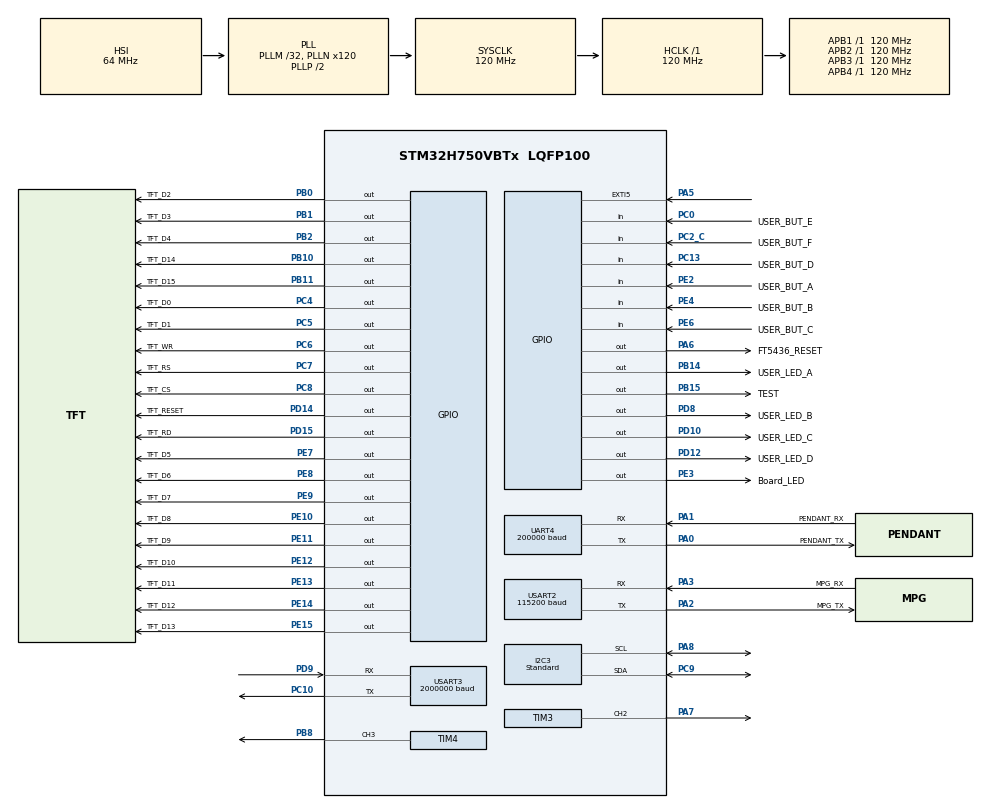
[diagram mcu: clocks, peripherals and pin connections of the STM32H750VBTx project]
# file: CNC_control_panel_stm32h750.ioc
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Dma.I2C3_RX.0.Direction=DMA_PERIPH_TO_MEMORY
Dma.I2C3_RX.0.EventEnable=DISABLE
Dma.I2C3_RX.0.FIFOMode=DMA_FIFOMODE_DISABLE
Dma.I2C3_RX.0.Instance=DMA1_Stream0
Dma.I2C3_RX.0.MemDataAlignment=DMA_MDATAALIGN_BYTE
Dma.I2C3_RX.0.MemInc=DMA_MINC_ENABLE
Dma.I2C3_RX.0.Mode=DMA_NORMAL
Dma.I2C3_RX.0.PeriphDataAlignment=DMA_PDATAALIGN_BYTE
Dma.I2C3_RX.0.PeriphInc=DMA_PINC_DISABLE
Dma.I2C3_RX.0.Polarity=HAL_DMAMUX_REQ_GEN_RISING
Dma.I2C3_RX.0.Priority=DMA_PRIORITY_LOW
Dma.I2C3_RX.0.RequestNumber=1
Dma.I2C3_RX.0.SignalID=NONE
Dma.I2C3_RX.0.SyncEnable=DISABLE
Dma.I2C3_RX.0.SyncPolarity=HAL_DMAMUX_SYNC_NO_EVENT
Dma.I2C3_RX.0.SyncRequestNumber=1
Dma.I2C3_RX.0.SyncSignalID=NONE
Dma.I2C3_TX.1.Direction=DMA_MEMORY_TO_PERIPH
Dma.I2C3_TX.1.EventEnable=DISABLE
Dma.I2C3_TX.1.FIFOMode=DMA_FIFOMODE_DISABLE
Dma.I2C3_TX.1.Instance=DMA1_Stream1
Dma.I2C3_TX.1.MemDataAlignment=DMA_MDATAALIGN_BYTE
Dma.I2C3_TX.1.MemInc=DMA_MINC_ENABLE
Dma.I2C3_TX.1.Mode=DMA_NORMAL
Dma.I2C3_TX.1.PeriphDataAlignment=DMA_PDATAALIGN_BYTE
Dma.I2C3_TX.1.PeriphInc=DMA_PINC_DISABLE
Dma.I2C3_TX.1.Polarity=HAL_DMAMUX_REQ_GEN_RISING
Dma.I2C3_TX.1.Priority=DMA_PRIORITY_LOW
Dma.I2C3_TX.1.RequestNumber=1
Dma.I2C3_TX.1.SignalID=NONE
Dma.I2C3_TX.1.SyncEnable=DISABLE
Dma.I2C3_TX.1.SyncPolarity=HAL_DMAMUX_SYNC_NO_EVENT
Dma.I2C3_TX.1.SyncRequestNumber=1
Dma.I2C3_TX.1.SyncSignalID=NONE
Dma.Request0=I2C3_RX
Dma.Request1=I2C3_TX
Dma.Request2=USART2_RX
Dma.Request3=UART4_RX
Dma.Request4=USART3_TX
Dma.Request5=UART4_TX
Dma.UART4_RX.3.Direction=DMA_PERIPH_TO_MEMORY
Dma.UART4_RX.3.EventEnable=DISABLE
Dma.UART4_RX.3.FIFOMode=DMA_FIFOMODE_DISABLE
Dma.UART4_RX.3.Instance=DMA1_Stream4
Dma.UART4_RX.3.MemDataAlignment=DMA_MDATAALIGN_BYTE
Dma.UART4_RX.3.MemInc=DMA_MINC_ENABLE
Dma.UART4_RX.3.Mode=DMA_NORMAL
Dma.UART4_RX.3.PeriphDataAlignment=DMA_PDATAALIGN_BYTE
Dma.UART4_RX.3.PeriphInc=DMA_PINC_DISABLE
Dma.UART4_RX.3.Polarity=HAL_DMAMUX_REQ_GEN_RISING
Dma.UART4_RX.3.Priority=DMA_PRIORITY_LOW
Dma.UART4_RX.3.RequestNumber=1
Dma.UART4_RX.3.SignalID=NONE
Dma.UART4_RX.3.SyncEnable=DISABLE
Dma.UART4_RX.3.SyncPolarity=HAL_DMAMUX_SYNC_NO_EVENT
Dma.UART4_RX.3.SyncRequestNumber=1
Dma.UART4_RX.3.SyncSignalID=NONE
Dma.UART4_TX.5.Direction=DMA_MEMORY_TO_PERIPH
Dma.UART4_TX.5.EventEnable=DISABLE
Dma.UART4_TX.5.FIFOMode=DMA_FIFOMODE_DISABLE
Dma.UART4_TX.5.Instance=DMA1_Stream5
Dma.UART4_TX.5.MemDataAlignment=DMA_MDATAALIGN_BYTE
Dma.UART4_TX.5.MemInc=DMA_MINC_ENABLE
Dma.UART4_TX.5.Mode=DMA_NORMAL
Dma.UART4_TX.5.PeriphDataAlignment=DMA_PDATAALIGN_BYTE
Dma.UART4_TX.5.PeriphInc=DMA_PINC_DISABLE
Dma.UART4_TX.5.Polarity=HAL_DMAMUX_REQ_GEN_RISING
Dma.UART4_TX.5.Priority=DMA_PRIORITY_LOW
Dma.UART4_TX.5.RequestNumber=1
Dma.UART4_TX.5.SignalID=NONE
Dma.UART4_TX.5.SyncEnable=DISABLE
Dma.UART4_TX.5.SyncPolarity=HAL_DMAMUX_SYNC_NO_EVENT
Dma.UART4_TX.5.SyncRequestNumber=1
Dma.UART4_TX.5.SyncSignalID=NONE
Dma.USART2_RX.2.Direction=DMA_PERIPH_TO_MEMORY
Dma.USART2_RX.2.EventEnable=DISABLE
Dma.USART2_RX.2.FIFOMode=DMA_FIFOMODE_DISABLE
Dma.USART2_RX.2.Instance=DMA1_Stream2
Dma.USART2_RX.2.MemDataAlignment=DMA_MDATAALIGN_BYTE
Dma.USART2_RX.2.MemInc=DMA_MINC_ENABLE
Dma.USART2_RX.2.Mode=DMA_NORMAL
Dma.USART2_RX.2.PeriphDataAlignment=DMA_PDATAALIGN_BYTE
Dma.USART2_RX.2.PeriphInc=DMA_PINC_DISABLE
Dma.USART2_RX.2.Polarity=HAL_DMAMUX_REQ_GEN_RISING
Dma.USART2_RX.2.Priority=DMA_PRIORITY_LOW
Dma.USART2_RX.2.RequestNumber=1
Dma.USART2_RX.2.SignalID=NONE
Dma.USART2_RX.2.SyncEnable=DISABLE
Dma.USART2_RX.2.SyncPolarity=HAL_DMAMUX_SYNC_NO_EVENT
Dma.USART2_RX.2.SyncRequestNumber=1
Dma.USART2_RX.2.SyncSignalID=NONE
Dma.USART3_TX.4.Direction=DMA_MEMORY_TO_PERIPH
Dma.USART3_TX.4.EventEnable=DISABLE
Dma.USART3_TX.4.FIFOMode=DMA_FIFOMODE_DISABLE
Dma.USART3_TX.4.Instance=DMA1_Stream3
Dma.USART3_TX.4.MemDataAlignment=DMA_MDATAALIGN_BYTE
Dma.USART3_TX.4.MemInc=DMA_MINC_ENABLE
Dma.USART3_TX.4.Mode=DMA_NORMAL
Dma.USART3_TX.4.PeriphDataAlignment=DMA_PDATAALIGN_BYTE
Dma.USART3_TX.4.PeriphInc=DMA_PINC_DISABLE
Dma.USART3_TX.4.Polarity=HAL_DMAMUX_REQ_GEN_RISING
Dma.USART3_TX.4.Priority=DMA_PRIORITY_LOW
Dma.USART3_TX.4.RequestNumber=1
Dma.USART3_TX.4.SignalID=NONE
Dma.USART3_TX.4.SyncEnable=DISABLE
Dma.USART3_TX.4.SyncPolarity=HAL_DMAMUX_SYNC_NO_EVENT
Dma.USART3_TX.4.SyncRequestNumber=1
Dma.USART3_TX.4.SyncSignalID=NONE
I2C3.Analog_Filter=I2C_ANALOGFILTER_DISABLE
I2C3.CustomTiming=Enabled
I2C3.I2C_Speed_Mode=I2C_Standard
I2C3.Speed=75
I2C3.Timing=0x00909BEB
Mcu.Family=STM32H7
Mcu.Name=STM32H750VBTx
Mcu.Package=LQFP100
NVIC.DMA1_Stream0_IRQn=true\:6\:0\:true\:false\:true\:false\:true\:true
NVIC.DMA1_Stream1_IRQn=true\:5\:0\:true\:false\:true\:false\:true\:true
NVIC.DMA1_Stream2_IRQn=true\:7\:0\:true\:false\:true\:true\:true\:true
NVIC.DMA1_Stream3_IRQn=true\:0\:0\:false\:false\:true\:true\:true\:true
NVIC.DMA1_Stream4_IRQn=true\:0\:0\:false\:false\:true\:true\:true\:true
NVIC.DMA1_Stream5_IRQn=true\:0\:0\:false\:false\:true\:true\:true\:true
NVIC.EXTI9_5_IRQn=true\:2\:0\:true\:false\:true\:true\:true\:true
NVIC.I2C3_ER_IRQn=true\:4\:0\:true\:false\:true\:true\:true\:true
NVIC.I2C3_EV_IRQn=true\:3\:0\:true\:false\:true\:true\:true\:true
NVIC.PriorityGroup=NVIC_PRIORITYGROUP_4
NVIC.TIM1_UP_IRQn=true\:0\:0\:false\:false\:true\:true\:true\:true
NVIC.TIM4_IRQn=true\:1\:0\:true\:false\:true\:true\:true\:true
NVIC.UART4_IRQn=true\:8\:0\:true\:false\:true\:true\:true\:true
NVIC.USART2_IRQn=true\:0\:0\:false\:false\:true\:true\:true\:true
NVIC.USART3_IRQn=true\:0\:0\:false\:false\:true\:true\:true\:true
PA0.GPIO_Label=PENDANT_TX
PA0.Mode=Asynchronous
PA0.Signal=UART4_TX
PA1.GPIO_Label=PENDANT_RX
PA1.Mode=Asynchronous
PA1.Signal=UART4_RX
PA2.GPIO_Label=MPG_TX
PA2.Mode=Asynchronous
PA2.Signal=USART2_TX
PA3.GPIO_Label=MPG_RX
PA3.Mode=Asynchronous
PA3.Signal=USART2_RX
PA5.Signal=GPXTI5
PA6.GPIO_Label=FT5436_RESET
PA6.Signal=GPIO_Output
PA7.Signal=S_TIM3_CH2
PA8.GPIO_Pu=GPIO_PULLUP
PA8.GPIO_Speed=GPIO_SPEED_FREQ_HIGH
PA8.Mode=I2C
PA8.Signal=I2C3_SCL
PB0.GPIO_Label=TFT_D2
PB0.Signal=GPIO_Output
PB1.GPIO_Label=TFT_D3
PB1.Signal=GPIO_Output
PB10.GPIO_Label=TFT_D14
PB10.Signal=GPIO_Output
PB11.GPIO_Label=TFT_D15
PB11.Signal=GPIO_Output
PB14.GPIO_Label=USER_LED_A
PB14.Signal=GPIO_Output
PB15.GPIO_Label=TEST
PB15.GPIO_Speed=GPIO_SPEED_FREQ_MEDIUM
PB15.Signal=GPIO_Output
PB2.GPIO_Label=TFT_D4
PB2.Signal=GPIO_Output
PB8.Signal=S_TIM4_CH3
PC0.GPIO_Label=USER_BUT_E
PC0.Signal=GPIO_Input
PC10.Mode=Asynchronous
PC10.Signal=USART3_TX
PC13.GPIO_Label=USER_BUT_D
PC13.Signal=GPIO_Input
PC2_C.GPIO_Label=USER_BUT_F
PC2_C.Signal=GPIO_Input
PC4.GPIO_Label=TFT_D0
PC4.Signal=GPIO_Output
PC5.GPIO_Label=TFT_D1
PC5.Signal=GPIO_Output
PC6.GPIO_Label=TFT_WR
PC6.Signal=GPIO_Output
PC7.GPIO_Label=TFT_RS
PC7.Signal=GPIO_Output
PC8.GPIO_Label=TFT_CS
PC8.Signal=GPIO_Output
PC9.GPIO_Pu=GPIO_PULLUP
PC9.GPIO_Speed=GPIO_SPEED_FREQ_HIGH
PC9.Mode=I2C
PC9.Signal=I2C3_SDA
PD10.GPIO_Label=USER_LED_C
PD10.Signal=GPIO_Output
PD12.GPIO_Label=USER_LED_D
PD12.Signal=GPIO_Output
PD14.GPIO_Label=TFT_RESET
PD14.Signal=GPIO_Output
PD15.GPIO_Label=TFT_RD
PD15.Signal=GPIO_Output
PD8.GPIO_Label=USER_LED_B
PD8.Signal=GPIO_Output
PD9.Mode=Asynchronous
PD9.Signal=USART3_RX
PE10.GPIO_Label=TFT_D8
PE10.GPIO_Speed=GPIO_SPEED_FREQ_VERY_HIGH
PE10.Signal=GPIO_Output
PE11.GPIO_Label=TFT_D9
PE11.GPIO_Speed=GPIO_SPEED_FREQ_VERY_HIGH
PE11.Signal=GPIO_Output
PE12.GPIO_Label=TFT_D10
PE12.GPIO_Speed=GPIO_SPEED_FREQ_VERY_HIGH
PE12.Signal=GPIO_Output
PE13.GPIO_Label=TFT_D11
PE13.GPIO_Speed=GPIO_SPEED_FREQ_VERY_HIGH
PE13.Signal=GPIO_Output
PE14.GPIO_Label=TFT_D12
PE14.GPIO_Speed=GPIO_SPEED_FREQ_VERY_HIGH
PE14.Signal=GPIO_Output
PE15.GPIO_Label=TFT_D13
PE15.GPIO_Speed=GPIO_SPEED_FREQ_VERY_HIGH
PE15.Signal=GPIO_Output
PE2.GPIO_Label=USER_BUT_A
PE2.Signal=GPIO_Input
PE3.GPIO_Label=Board_LED
PE3.GPIO_ModeDefaultOutputPP=GPIO_MODE_OUTPUT_PP
PE3.GPIO_PuPd=GPIO_NOPULL
PE3.GPIO_Speed=GPIO_SPEED_FREQ_LOW
PE3.PinState=GPIO_PIN_SET
PE3.Signal=GPIO_Output
PE4.GPIO_Label=USER_BUT_B
PE4.Signal=GPIO_Input
PE6.GPIO_Label=USER_BUT_C
PE6.Signal=GPIO_Input
PE7.GPIO_Label=TFT_D5
PE7.GPIO_Speed=GPIO_SPEED_FREQ_VERY_HIGH
PE7.Signal=GPIO_Output
PE8.GPIO_Label=TFT_D6
PE8.GPIO_Speed=GPIO_SPEED_FREQ_VERY_HIGH
PE8.Signal=GPIO_Output
PE9.GPIO_Label=TFT_D7
PE9.GPIO_Speed=GPIO_SPEED_FREQ_VERY_HIGH
PE9.Signal=GPIO_Output
ProjectManager.HeapSize=0x200
ProjectManager.StackSize=0x400
ProjectManager.TargetToolchain=STM32CubeIDE
RCC.ADCCLockSelection=RCC_ADCCLKSOURCE_PLL2
RCC.ADCFreq_Value=20000000
RCC.APB1Freq_Value=120000000
RCC.APB2Freq_Value=120000000
RCC.APB3Freq_Value=120000000
RCC.APB4Freq_Value=120000000
RCC.CECCLockSelection=RCC_CECCLKSOURCE_LSI
RCC.CKPERSourceSelection=RCC_CLKPSOURCE_HSI
RCC.CSI_VALUE=4000000
RCC.CortexFreq_Value=120000000
RCC.Cortex_Div=SYSTICK_CLKSOURCE_HCLK
RCC.Cortex_DivARG=SystemCoreClock/1000
RCC.D1CPRE=RCC_SYSCLK_DIV1
RCC.DFSDMCLockSelection=RCC_DFSDM1CLKSOURCE_D2PCLK1
RCC.DIVM1=32
RCC.DIVM2=32
RCC.DIVM3=32
RCC.DIVN1=120
RCC.DIVN2=80
RCC.DIVN3=100
RCC.DIVP1=2
RCC.DIVP2=8
RCC.DIVP3=4
RCC.DIVQ1=2
RCC.DIVQ2=4
RCC.DIVQ3=4
RCC.DIVR1=2
RCC.DIVR2=2
RCC.DIVR3=4
RCC.DSICLockSelection=RCC_DSICLKSOURCE_PHY
RCC.DSIPHY_Div=8
RCC.DSITX_Div=4
RCC.DSI_PHY_VALUE=12288000
RCC.EXTERNAL_CLOCK_VALUE=12288000
RCC.FDCANCLockSelection=RCC_FDCANCLKSOURCE_PLL
RCC.FMCCLockSelection=RCC_FMCCLKSOURCE_D1HCLK
RCC.HCLKFreq_Value=120000000
RCC.HPRE=RCC_HCLK_DIV1
RCC.HSE_VALUE=25000000
RCC.HSIDiv=RCC_PLLSAIDIVR_1
RCC.HSI_VALUE=64000000
RCC.I2C123CLockSelection=RCC_I2C123CLKSOURCE_PLL3
RCC.I2C4CLockSelection=RCC_I2C4CLKSOURCE_PLL3
RCC.LPTIM1CLockSelection=RCC_LPTIM1CLKSOURCE_D2PCLK1
RCC.LPTIM2CLockSelection=RCC_LPTIM2CLKSOURCE_D3PCLK1
RCC.LPTIM345CLockSelection=RCC_LPTIM345CLKSOURCE_D3PCLK1
RCC.LPUART1CLockSelection=RCC_LPUART1CLKSOURCE_D3PCLK1
RCC.LSE_VALUE=32768
RCC.PLL3FRACN=0
RCC.PLLDSIDev=2
RCC.PLLDSIIDF=DSI_PLL_IN_DIV1
RCC.PLLDSIMult=2
RCC.PLLDSINDIV=20
RCC.PLLDSIODF=DSI_PLL_OUT_DIV1
RCC.QSPICLockSelection=RCC_QSPICLKSOURCE_D1HCLK
RCC.RC48_VALUE=48000000
RCC.RCC_MCO1Source=RCC_MCO1SOURCE_HSI
RCC.RCC_MCO2Source=RCC_MCO2SOURCE_SYSCLK
RCC.RCC_MCODiv1=RCC_MCODIV_1
RCC.RCC_MCODiv2=RCC_MCODIV_1
RCC.RCC_RTC_Clock_Source_FROM_HSE=RCC_RTCCLKSOURCE_HSE_DIV2
RCC.RNGCLockSelection=RCC_RNGCLKSOURCE_HSI48
RCC.SAI1CLockSelection=RCC_SAI1CLKSOURCE_PLL
RCC.SAI23CLockSelection=RCC_SAI23CLKSOURCE_PLL
RCC.SAI4ACLockSelection=RCC_SAI4ACLKSOURCE_PLL
RCC.SAI4BCLockSelection=RCC_SAI4BCLKSOURCE_PLL
RCC.SPDIFCLockSelection=RCC_SPDIFRXCLKSOURCE_PLL
RCC.SPI123CLockSelection=RCC_SPI123CLKSOURCE_PLL2
RCC.SPI6CLockSelection=RCC_SPI6CLKSOURCE_D3PCLK1
RCC.SWPCLockSelection=RCC_SWPMI1CLKSOURCE_D2PCLK1
RCC.SYSCLKFreq_VALUE=120000000
RCC.SYSCLKSource=RCC_SYSCLKSOURCE_PLLCLK
RCC.Spi45ClockSelection=RCC_SPI45CLKSOURCE_D2PCLK1
RCC.USART16CLockSelection=RCC_USART16CLKSOURCE_PLL3
RCC.USART234578CLockSelection=RCC_USART234578CLKSOURCE_PLL3
RCC.USBCLockSelection=RCC_USBCLKSOURCE_PLL
RCC.USBFreq_Value=120000000
SH.S_TIM3_CH2.0=TIM3_CH2,PWM Generation2 CH2
SH.S_TIM4_CH3.0=TIM4_CH3,PWM Generation3 CH3
TIM1.Period=1000 - 1
TIM1.Prescaler=1200
TIM3.AutoReloadPreload=TIM_AUTORELOAD_PRELOAD_ENABLE
TIM3.Channel-PWM\ Generation2\ CH2=TIM_CHANNEL_2
TIM3.Period=1000 - 1
TIM3.Prescaler=120
TIM3.Pulse-PWM\ Generation2\ CH2=1000 - 1
TIM4.AutoReloadPreload=TIM_AUTORELOAD_PRELOAD_ENABLE
TIM4.Channel-PWM\ Generation3\ CH3=TIM_CHANNEL_3
TIM4.Period=10000 - 1
TIM4.Prescaler=120
TIM4.Pulse-PWM\ Generation3\ CH3=5000
UART4.BaudRate=200000
UART4.FIFOMode=FIFOMODE_DISABLE
UART4.OneBitSampling=UART_ONE_BIT_SAMPLE_ENABLE
UART4.OverSampling=UART_OVERSAMPLING_8
UART4.RXFIFOThreshold=RXFIFO_THRESHOLD_1EIGHTHFULL
UART4.TXFIFOThreshold=TXFIFO_THRESHOLD_1EIGHTHFULL
USART2.BaudRate=115200
USART2.FIFOMode=FIFOMODE_ENABLE
USART2.OneBitSampling=UART_ONE_BIT_SAMPLE_ENABLE
USART2.OverSampling=UART_OVERSAMPLING_8
USART2.RXFIFOThreshold=RXFIFO_THRESHOLD_FULL
USART2.TXFIFOThreshold=TXFIFO_THRESHOLD_EMPTY
USART2.VirtualMode-Asynchronous=VM_ASYNC
USART3.BaudRate=2000000
USART3.Mode=MODE_TX
USART3.OneBitSampling=UART_ONE_BIT_SAMPLE_ENABLE
USART3.OverSampling=UART_OVERSAMPLING_8
USART3.VirtualMode-Asynchronous=VM_ASYNC
VP_TIM1_VS_ClockSourceINT.Mode=Internal
board=custom

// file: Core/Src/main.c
/* USER CODE BEGIN Header */
/**
  ******************************************************************************
  * @file           : main.c
  * @brief          : Main program body
  ******************************************************************************
  * @attention
  *
  * Copyright (c) 2023 STMicroelectronics.
  * All rights reserved.
  *
  * This software is licensed under terms that can be found in the LICENSE file
  * in the root directory of this software component.
  * If no LICENSE file comes with this software, it is provided AS-IS.
  *
  ******************************************************************************
  */
/* USER CODE END Header */
#include "main.h"

/* USER CODE BEGIN Includes */
#include "r61529.h"
#include "fonts.h"
#include "ft5436.h"
#include "r61529_screen_menu.h"
#include "sound_fx.h"
#include "systick_timer.h"
#include "stm32h7xx_it.h"

/* USER CODE END Includes */

I2C_HandleTypeDef hi2c3;
DMA_HandleTypeDef hdma_i2c3_rx;
DMA_HandleTypeDef hdma_i2c3_tx;

TIM_HandleTypeDef htim1;
TIM_HandleTypeDef htim3;
TIM_HandleTypeDef htim4;

UART_HandleTypeDef huart4;
UART_HandleTypeDef huart2;
UART_HandleTypeDef huart3;
DMA_HandleTypeDef hdma_uart4_rx;
DMA_HandleTypeDef hdma_uart4_tx;
DMA_HandleTypeDef hdma_usart2_rx;
DMA_HandleTypeDef hdma_usart3_tx;

void SystemClock_Config(void);
void PeriphCommonClock_Config(void);
static void MX_GPIO_Init(void);
static void MX_DMA_Init(void);
static void MX_I2C3_Init(void);
static void MX_USART2_UART_Init(void);
static void MX_TIM3_Init(void);
static void MX_TIM4_Init(void);
static void MX_TIM1_Init(void);
static void MX_UART4_Init(void);
static void MX_USART3_UART_Init(void);
/* USER CODE BEGIN PFP */
void Init_interfaces();

/* USER CODE END PFP */

int main(void)
{

  /* MCU Configuration--------------------------------------------------------*/

  /* Reset of all peripherals, Initializes the Flash interface and the Systick. */
  HAL_Init();

  /* Configure the system clock */
  SystemClock_Config();

/* Configure the peripherals common clocks */
  PeriphCommonClock_Config();

  /* Initialize all configured peripherals */
  MX_GPIO_Init();
  MX_DMA_Init();
  MX_I2C3_Init();
  MX_USART2_UART_Init();
  MX_TIM3_Init();
  MX_TIM4_Init();
  MX_TIM1_Init();
  MX_UART4_Init();
  MX_USART3_UART_Init();
  /* USER CODE BEGIN 2 */
  // Initialize interfaces
  Init_interfaces();

  /* USER CODE END 2 */

  /* Infinite loop */
  /* USER CODE BEGIN WHILE */
	while(1){
		// Switch board LED state between 650ms
		if(wait_ms_ch(1, 650)){
			if(HAL_GPIO_ReadPin(Board_LED_GPIO_Port, Board_LED_Pin) == GPIO_PIN_RESET){
				HAL_GPIO_WritePin(Board_LED_GPIO_Port, Board_LED_Pin, GPIO_PIN_SET);
			}else{
				HAL_GPIO_WritePin(Board_LED_GPIO_Port, Board_LED_Pin, GPIO_PIN_RESET);
			}
		}

		// Call function, implementing the menu of the control panel
		r61529_screen_menu();
    /* USER CODE END WHILE */

  }
}

void SystemClock_Config(void)
{
  RCC_OscInitTypeDef RCC_OscInitStruct = {0};
  RCC_ClkInitTypeDef RCC_ClkInitStruct = {0};

  /** Supply configuration update enable
  */
  HAL_PWREx_ConfigSupply(PWR_LDO_SUPPLY);

  /** Configure the main internal regulator output voltage
  */
  __HAL_PWR_VOLTAGESCALING_CONFIG(PWR_REGULATOR_VOLTAGE_SCALE3);

  while(!__HAL_PWR_GET_FLAG(PWR_FLAG_VOSRDY)) {}

  /** Initializes the RCC Oscillators according to the specified parameters
  * in the RCC_OscInitTypeDef structure.
  */
  RCC_OscInitStruct.OscillatorType = RCC_OSCILLATORTYPE_HSI;
  RCC_OscInitStruct.HSIState = RCC_HSI_DIV1;
  RCC_OscInitStruct.HSICalibrationValue = RCC_HSICALIBRATION_DEFAULT;
  RCC_OscInitStruct.PLL.PLLState = RCC_PLL_ON;
  RCC_OscInitStruct.PLL.PLLSource = RCC_PLLSOURCE_HSI;
  RCC_OscInitStruct.PLL.PLLM = 32;
  RCC_OscInitStruct.PLL.PLLN = 120;
  RCC_OscInitStruct.PLL.PLLP = 2;
  RCC_OscInitStruct.PLL.PLLQ = 2;
  RCC_OscInitStruct.PLL.PLLR = 2;
  RCC_OscInitStruct.PLL.PLLRGE = RCC_PLL1VCIRANGE_1;
  RCC_OscInitStruct.PLL.PLLVCOSEL = RCC_PLL1VCOWIDE;
  RCC_OscInitStruct.PLL.PLLFRACN = 0;
  if (HAL_RCC_OscConfig(&RCC_OscInitStruct) != HAL_OK)
  {
    Error_Handler();
  }

  /** Initializes the CPU, AHB and APB buses clocks
  */
  RCC_ClkInitStruct.ClockType = RCC_CLOCKTYPE_HCLK|RCC_CLOCKTYPE_SYSCLK
                              |RCC_CLOCKTYPE_PCLK1|RCC_CLOCKTYPE_PCLK2
                              |RCC_CLOCKTYPE_D3PCLK1|RCC_CLOCKTYPE_D1PCLK1;
  RCC_ClkInitStruct.SYSCLKSource = RCC_SYSCLKSOURCE_PLLCLK;
  RCC_ClkInitStruct.SYSCLKDivider = RCC_SYSCLK_DIV1;
  RCC_ClkInitStruct.AHBCLKDivider = RCC_HCLK_DIV1;
  RCC_ClkInitStruct.APB3CLKDivider = RCC_APB3_DIV1;
  RCC_ClkInitStruct.APB1CLKDivider = RCC_APB1_DIV1;
  RCC_ClkInitStruct.APB2CLKDivider = RCC_APB2_DIV1;
  RCC_ClkInitStruct.APB4CLKDivider = RCC_APB4_DIV1;

  if (HAL_RCC_ClockConfig(&RCC_ClkInitStruct, FLASH_LATENCY_2) != HAL_OK)
  {
    Error_Handler();
  }
}

void PeriphCommonClock_Config(void)
{
  RCC_PeriphCLKInitTypeDef PeriphClkInitStruct = {0};

  /** Initializes the peripherals clock
  */
  PeriphClkInitStruct.PeriphClockSelection = RCC_PERIPHCLK_I2C3|RCC_PERIPHCLK_UART4
                              |RCC_PERIPHCLK_USART2|RCC_PERIPHCLK_USART3;
  PeriphClkInitStruct.PLL3.PLL3M = 32;
  PeriphClkInitStruct.PLL3.PLL3N = 100;
  PeriphClkInitStruct.PLL3.PLL3P = 4;
  PeriphClkInitStruct.PLL3.PLL3Q = 4;
  PeriphClkInitStruct.PLL3.PLL3R = 4;
  PeriphClkInitStruct.PLL3.PLL3RGE = RCC_PLL3VCIRANGE_1;
  PeriphClkInitStruct.PLL3.PLL3VCOSEL = RCC_PLL3VCOWIDE;
  PeriphClkInitStruct.PLL3.PLL3FRACN = 0;
  PeriphClkInitStruct.Usart234578ClockSelection = RCC_USART234578CLKSOURCE_PLL3;
  PeriphClkInitStruct.I2c123ClockSelection = RCC_I2C123CLKSOURCE_PLL3;
  if (HAL_RCCEx_PeriphCLKConfig(&PeriphClkInitStruct) != HAL_OK)
  {
    Error_Handler();
  }
}

static void MX_I2C3_Init(void)
{

  hi2c3.Instance = I2C3;
  hi2c3.Init.Timing = 0x00909BEB;
  hi2c3.Init.OwnAddress1 = 0;
  hi2c3.Init.AddressingMode = I2C_ADDRESSINGMODE_7BIT;
  hi2c3.Init.DualAddressMode = I2C_DUALADDRESS_DISABLE;
  hi2c3.Init.OwnAddress2 = 0;
  hi2c3.Init.OwnAddress2Masks = I2C_OA2_NOMASK;
  hi2c3.Init.GeneralCallMode = I2C_GENERALCALL_DISABLE;
  hi2c3.Init.NoStretchMode = I2C_NOSTRETCH_DISABLE;
  if (HAL_I2C_Init(&hi2c3) != HAL_OK)
  {
    Error_Handler();
  }

  /** Configure Analogue filter
  */
  if (HAL_I2CEx_ConfigAnalogFilter(&hi2c3, I2C_ANALOGFILTER_DISABLE) != HAL_OK)
  {
    Error_Handler();
  }

  /** Configure Digital filter
  */
  if (HAL_I2CEx_ConfigDigitalFilter(&hi2c3, 0) != HAL_OK)
  {
    Error_Handler();
  }

}

static void MX_TIM1_Init(void)
{

  TIM_ClockConfigTypeDef sClockSourceConfig = {0};
  TIM_MasterConfigTypeDef sMasterConfig = {0};

  htim1.Instance = TIM1;
  htim1.Init.Prescaler = 1200;
  htim1.Init.CounterMode = TIM_COUNTERMODE_UP;
  htim1.Init.Period = 1000 - 1;
  htim1.Init.ClockDivision = TIM_CLOCKDIVISION_DIV1;
  htim1.Init.RepetitionCounter = 0;
  htim1.Init.AutoReloadPreload = TIM_AUTORELOAD_PRELOAD_DISABLE;
  if (HAL_TIM_Base_Init(&htim1) != HAL_OK)
  {
    Error_Handler();
  }
  sClockSourceConfig.ClockSource = TIM_CLOCKSOURCE_INTERNAL;
  if (HAL_TIM_ConfigClockSource(&htim1, &sClockSourceConfig) != HAL_OK)
  {
    Error_Handler();
  }
  sMasterConfig.MasterOutputTrigger = TIM_TRGO_RESET;
  sMasterConfig.MasterOutputTrigger2 = TIM_TRGO2_RESET;
  sMasterConfig.MasterSlaveMode = TIM_MASTERSLAVEMODE_DISABLE;
  if (HAL_TIMEx_MasterConfigSynchronization(&htim1, &sMasterConfig) != HAL_OK)
  {
    Error_Handler();
  }

}

static void MX_TIM3_Init(void)
{

  TIM_MasterConfigTypeDef sMasterConfig = {0};
  TIM_OC_InitTypeDef sConfigOC = {0};

  htim3.Instance = TIM3;
  htim3.Init.Prescaler = 120;
  htim3.Init.CounterMode = TIM_COUNTERMODE_UP;
  htim3.Init.Period = 1000 - 1;
  htim3.Init.ClockDivision = TIM_CLOCKDIVISION_DIV1;
  htim3.Init.AutoReloadPreload = TIM_AUTORELOAD_PRELOAD_ENABLE;
  if (HAL_TIM_PWM_Init(&htim3) != HAL_OK)
  {
    Error_Handler();
  }
  sMasterConfig.MasterOutputTrigger = TIM_TRGO_RESET;
  sMasterConfig.MasterSlaveMode = TIM_MASTERSLAVEMODE_DISABLE;
  if (HAL_TIMEx_MasterConfigSynchronization(&htim3, &sMasterConfig) != HAL_OK)
  {
    Error_Handler();
  }
  sConfigOC.OCMode = TIM_OCMODE_PWM1;
  sConfigOC.Pulse = 1000 - 1;
  sConfigOC.OCPolarity = TIM_OCPOLARITY_HIGH;
  sConfigOC.OCFastMode = TIM_OCFAST_DISABLE;
  if (HAL_TIM_PWM_ConfigChannel(&htim3, &sConfigOC, TIM_CHANNEL_2) != HAL_OK)
  {
    Error_Handler();
  }
  HAL_TIM_MspPostInit(&htim3);

}

static void MX_TIM4_Init(void)
{

  TIM_MasterConfigTypeDef sMasterConfig = {0};
  TIM_OC_InitTypeDef sConfigOC = {0};

  htim4.Instance = TIM4;
  htim4.Init.Prescaler = 120;
  htim4.Init.CounterMode = TIM_COUNTERMODE_UP;
  htim4.Init.Period = 10000 - 1;
  htim4.Init.ClockDivision = TIM_CLOCKDIVISION_DIV1;
  htim4.Init.AutoReloadPreload = TIM_AUTORELOAD_PRELOAD_ENABLE;
  if (HAL_TIM_PWM_Init(&htim4) != HAL_OK)
  {
    Error_Handler();
  }
  sMasterConfig.MasterOutputTrigger = TIM_TRGO_RESET;
  sMasterConfig.MasterSlaveMode = TIM_MASTERSLAVEMODE_DISABLE;
  if (HAL_TIMEx_MasterConfigSynchronization(&htim4, &sMasterConfig) != HAL_OK)
  {
    Error_Handler();
  }
  sConfigOC.OCMode = TIM_OCMODE_PWM1;
  sConfigOC.Pulse = 5000;
  sConfigOC.OCPolarity = TIM_OCPOLARITY_HIGH;
  sConfigOC.OCFastMode = TIM_OCFAST_DISABLE;
  if (HAL_TIM_PWM_ConfigChannel(&htim4, &sConfigOC, TIM_CHANNEL_3) != HAL_OK)
  {
    Error_Handler();
  }
  HAL_TIM_MspPostInit(&htim4);

}

static void MX_UART4_Init(void)
{

  huart4.Instance = UART4;
  huart4.Init.BaudRate = 200000;
  huart4.Init.WordLength = UART_WORDLENGTH_8B;
  huart4.Init.StopBits = UART_STOPBITS_1;
  huart4.Init.Parity = UART_PARITY_NONE;
  huart4.Init.Mode = UART_MODE_TX_RX;
  huart4.Init.HwFlowCtl = UART_HWCONTROL_NONE;
  huart4.Init.OverSampling = UART_OVERSAMPLING_8;
  huart4.Init.OneBitSampling = UART_ONE_BIT_SAMPLE_ENABLE;
  huart4.Init.ClockPrescaler = UART_PRESCALER_DIV1;
  huart4.AdvancedInit.AdvFeatureInit = UART_ADVFEATURE_NO_INIT;
  if (HAL_UART_Init(&huart4) != HAL_OK)
  {
    Error_Handler();
  }
  if (HAL_UARTEx_SetTxFifoThreshold(&huart4, UART_TXFIFO_THRESHOLD_1_8) != HAL_OK)
  {
    Error_Handler();
  }
  if (HAL_UARTEx_SetRxFifoThreshold(&huart4, UART_RXFIFO_THRESHOLD_1_8) != HAL_OK)
  {
    Error_Handler();
  }
  if (HAL_UARTEx_DisableFifoMode(&huart4) != HAL_OK)
  {
    Error_Handler();
  }

}

static void MX_USART2_UART_Init(void)
{

  huart2.Instance = USART2;
  huart2.Init.BaudRate = 115200;
  huart2.Init.WordLength = UART_WORDLENGTH_8B;
  huart2.Init.StopBits = UART_STOPBITS_1;
  huart2.Init.Parity = UART_PARITY_NONE;
  huart2.Init.Mode = UART_MODE_TX_RX;
  huart2.Init.HwFlowCtl = UART_HWCONTROL_NONE;
  huart2.Init.OverSampling = UART_OVERSAMPLING_8;
  huart2.Init.OneBitSampling = UART_ONE_BIT_SAMPLE_ENABLE;
  huart2.Init.ClockPrescaler = UART_PRESCALER_DIV1;
  huart2.AdvancedInit.AdvFeatureInit = UART_ADVFEATURE_NO_INIT;
  if (HAL_UART_Init(&huart2) != HAL_OK)
  {
    Error_Handler();
  }
  if (HAL_UARTEx_SetTxFifoThreshold(&huart2, UART_TXFIFO_THRESHOLD_8_8) != HAL_OK)
  {
    Error_Handler();
  }
  if (HAL_UARTEx_SetRxFifoThreshold(&huart2, UART_RXFIFO_THRESHOLD_8_8) != HAL_OK)
  {
    Error_Handler();
  }
  if (HAL_UARTEx_EnableFifoMode(&huart2) != HAL_OK)
  {
    Error_Handler();
  }

}

static void MX_USART3_UART_Init(void)
{

  huart3.Instance = USART3;
  huart3.Init.BaudRate = 2000000;
  huart3.Init.WordLength = UART_WORDLENGTH_8B;
  huart3.Init.StopBits = UART_STOPBITS_1;
  huart3.Init.Parity = UART_PARITY_NONE;
  huart3.Init.Mode = UART_MODE_TX;
  huart3.Init.HwFlowCtl = UART_HWCONTROL_NONE;
  huart3.Init.OverSampling = UART_OVERSAMPLING_8;
  huart3.Init.OneBitSampling = UART_ONE_BIT_SAMPLE_ENABLE;
  huart3.Init.ClockPrescaler = UART_PRESCALER_DIV1;
  huart3.AdvancedInit.AdvFeatureInit = UART_ADVFEATURE_NO_INIT;
  if (HAL_UART_Init(&huart3) != HAL_OK)
  {
    Error_Handler();
  }
  if (HAL_UARTEx_SetTxFifoThreshold(&huart3, UART_TXFIFO_THRESHOLD_1_8) != HAL_OK)
  {
    Error_Handler();
  }
  if (HAL_UARTEx_SetRxFifoThreshold(&huart3, UART_RXFIFO_THRESHOLD_1_8) != HAL_OK)
  {
    Error_Handler();
  }
  if (HAL_UARTEx_DisableFifoMode(&huart3) != HAL_OK)
  {
    Error_Handler();
  }

}

static void MX_DMA_Init(void)
{

  /* DMA controller clock enable */
  __HAL_RCC_DMA1_CLK_ENABLE();

  /* DMA interrupt init */
  /* DMA1_Stream0_IRQn interrupt configuration */
  HAL_NVIC_SetPriority(DMA1_Stream0_IRQn, 6, 0);
  HAL_NVIC_EnableIRQ(DMA1_Stream0_IRQn);
  /* DMA1_Stream1_IRQn interrupt configuration */
  HAL_NVIC_SetPriority(DMA1_Stream1_IRQn, 5, 0);
  HAL_NVIC_EnableIRQ(DMA1_Stream1_IRQn);
  /* DMA1_Stream2_IRQn interrupt configuration */
  HAL_NVIC_SetPriority(DMA1_Stream2_IRQn, 7, 0);
  HAL_NVIC_EnableIRQ(DMA1_Stream2_IRQn);
  /* DMA1_Stream3_IRQn interrupt configuration */
  HAL_NVIC_SetPriority(DMA1_Stream3_IRQn, 0, 0);
  HAL_NVIC_EnableIRQ(DMA1_Stream3_IRQn);
  /* DMA1_Stream4_IRQn interrupt configuration */
  HAL_NVIC_SetPriority(DMA1_Stream4_IRQn, 0, 0);
  HAL_NVIC_EnableIRQ(DMA1_Stream4_IRQn);
  /* DMA1_Stream5_IRQn interrupt configuration */
  HAL_NVIC_SetPriority(DMA1_Stream5_IRQn, 0, 0);
  HAL_NVIC_EnableIRQ(DMA1_Stream5_IRQn);

}

static void MX_GPIO_Init(void)
{
  GPIO_InitTypeDef GPIO_InitStruct = {0};

  /* GPIO Ports Clock Enable */
  __HAL_RCC_GPIOE_CLK_ENABLE();
  __HAL_RCC_GPIOC_CLK_ENABLE();
  __HAL_RCC_GPIOA_CLK_ENABLE();
  __HAL_RCC_GPIOB_CLK_ENABLE();
  __HAL_RCC_GPIOD_CLK_ENABLE();

  /*Configure GPIO pin Output Level */
  HAL_GPIO_WritePin(Board_LED_GPIO_Port, Board_LED_Pin, GPIO_PIN_SET);

  /*Configure GPIO pin Output Level */
  HAL_GPIO_WritePin(FT5436_RESET_GPIO_Port, FT5436_RESET_Pin, GPIO_PIN_RESET);

  /*Configure GPIO pin Output Level */
  HAL_GPIO_WritePin(GPIOC, TFT_D0_Pin|TFT_D1_Pin|TFT_WR_Pin|TFT_RS_Pin
                          |TFT_CS_Pin, GPIO_PIN_RESET);

  /*Configure GPIO pin Output Level */
  HAL_GPIO_WritePin(GPIOB, TFT_D2_Pin|TFT_D3_Pin|TFT_D4_Pin|TFT_D14_Pin
                          |TFT_D15_Pin|USER_LED_A_Pin|TEST_Pin, GPIO_PIN_RESET);

  /*Configure GPIO pin Output Level */
  HAL_GPIO_WritePin(GPIOE, TFT_D5_Pin|TFT_D6_Pin|TFT_D7_Pin|TFT_D8_Pin
                          |TFT_D9_Pin|TFT_D10_Pin|TFT_D11_Pin|TFT_D12_Pin
                          |TFT_D13_Pin, GPIO_PIN_RESET);

  /*Configure GPIO pin Output Level */
  HAL_GPIO_WritePin(GPIOD, USER_LED_B_Pin|USER_LED_C_Pin|USER_LED_D_Pin|TFT_RESET_Pin
                          |TFT_RD_Pin, GPIO_PIN_RESET);

  /*Configure GPIO pins : USER_BUT_A_Pin USER_BUT_B_Pin USER_BUT_C_Pin */
  GPIO_InitStruct.Pin = USER_BUT_A_Pin|USER_BUT_B_Pin|USER_BUT_C_Pin;
  GPIO_InitStruct.Mode = GPIO_MODE_INPUT;
  GPIO_InitStruct.Pull = GPIO_NOPULL;
  HAL_GPIO_Init(GPIOE, &GPIO_InitStruct);

  /*Configure GPIO pin : Board_LED_Pin */
  GPIO_InitStruct.Pin = Board_LED_Pin;
  GPIO_InitStruct.Mode = GPIO_MODE_OUTPUT_PP;
  GPIO_InitStruct.Pull = GPIO_NOPULL;
  GPIO_InitStruct.Speed = GPIO_SPEED_FREQ_LOW;
  HAL_GPIO_Init(Board_LED_GPIO_Port, &GPIO_InitStruct);

  /*Configure GPIO pins : USER_BUT_D_Pin USER_BUT_E_Pin USER_BUT_F_Pin */
  GPIO_InitStruct.Pin = USER_BUT_D_Pin|USER_BUT_E_Pin|USER_BUT_F_Pin;
  GPIO_InitStruct.Mode = GPIO_MODE_INPUT;
  GPIO_InitStruct.Pull = GPIO_NOPULL;
  HAL_GPIO_Init(GPIOC, &GPIO_InitStruct);

  /*Configure GPIO pin : PA5 */
  GPIO_InitStruct.Pin = GPIO_PIN_5;
  GPIO_InitStruct.Mode = GPIO_MODE_IT_RISING;
  GPIO_InitStruct.Pull = GPIO_NOPULL;
  HAL_GPIO_Init(GPIOA, &GPIO_InitStruct);

  /*Configure GPIO pin : FT5436_RESET_Pin */
  GPIO_InitStruct.Pin = FT5436_RESET_Pin;
  GPIO_InitStruct.Mode = GPIO_MODE_OUTPUT_PP;
  GPIO_InitStruct.Pull = GPIO_NOPULL;
  GPIO_InitStruct.Speed = GPIO_SPEED_FREQ_LOW;
  HAL_GPIO_Init(FT5436_RESET_GPIO_Port, &GPIO_InitStruct);

  /*Configure GPIO pins : TFT_D0_Pin TFT_D1_Pin TFT_WR_Pin TFT_RS_Pin
                           TFT_CS_Pin */
  GPIO_InitStruct.Pin = TFT_D0_Pin|TFT_D1_Pin|TFT_WR_Pin|TFT_RS_Pin
                          |TFT_CS_Pin;
  GPIO_InitStruct.Mode = GPIO_MODE_OUTPUT_PP;
  GPIO_InitStruct.Pull = GPIO_NOPULL;
  GPIO_InitStruct.Speed = GPIO_SPEED_FREQ_LOW;
  HAL_GPIO_Init(GPIOC, &GPIO_InitStruct);

  /*Configure GPIO pins : TFT_D2_Pin TFT_D3_Pin TFT_D4_Pin TFT_D14_Pin
                           TFT_D15_Pin USER_LED_A_Pin */
  GPIO_InitStruct.Pin = TFT_D2_Pin|TFT_D3_Pin|TFT_D4_Pin|TFT_D14_Pin
                          |TFT_D15_Pin|USER_LED_A_Pin;
  GPIO_InitStruct.Mode = GPIO_MODE_OUTPUT_PP;
  GPIO_InitStruct.Pull = GPIO_NOPULL;
  GPIO_InitStruct.Speed = GPIO_SPEED_FREQ_LOW;
  HAL_GPIO_Init(GPIOB, &GPIO_InitStruct);

  /*Configure GPIO pins : TFT_D5_Pin TFT_D6_Pin TFT_D7_Pin TFT_D8_Pin
                           TFT_D9_Pin TFT_D10_Pin TFT_D11_Pin TFT_D12_Pin
                           TFT_D13_Pin */
  GPIO_InitStruct.Pin = TFT_D5_Pin|TFT_D6_Pin|TFT_D7_Pin|TFT_D8_Pin
                          |TFT_D9_Pin|TFT_D10_Pin|TFT_D11_Pin|TFT_D12_Pin
                          |TFT_D13_Pin;
  GPIO_InitStruct.Mode = GPIO_MODE_OUTPUT_PP;
  GPIO_InitStruct.Pull = GPIO_NOPULL;
  GPIO_InitStruct.Speed = GPIO_SPEED_FREQ_VERY_HIGH;
  HAL_GPIO_Init(GPIOE, &GPIO_InitStruct);

  /*Configure GPIO pin : TEST_Pin */
  GPIO_InitStruct.Pin = TEST_Pin;
  GPIO_InitStruct.Mode = GPIO_MODE_OUTPUT_PP;
  GPIO_InitStruct.Pull = GPIO_NOPULL;
  GPIO_InitStruct.Speed = GPIO_SPEED_FREQ_MEDIUM;
  HAL_GPIO_Init(TEST_GPIO_Port, &GPIO_InitStruct);

  /*Configure GPIO pins : USER_LED_B_Pin USER_LED_C_Pin USER_LED_D_Pin TFT_RESET_Pin
                           TFT_RD_Pin */
  GPIO_InitStruct.Pin = USER_LED_B_Pin|USER_LED_C_Pin|USER_LED_D_Pin|TFT_RESET_Pin
                          |TFT_RD_Pin;
  GPIO_InitStruct.Mode = GPIO_MODE_OUTPUT_PP;
  GPIO_InitStruct.Pull = GPIO_NOPULL;
  GPIO_InitStruct.Speed = GPIO_SPEED_FREQ_LOW;
  HAL_GPIO_Init(GPIOD, &GPIO_InitStruct);

  /* EXTI interrupt init*/
  HAL_NVIC_SetPriority(EXTI9_5_IRQn, 2, 0);
  HAL_NVIC_EnableIRQ(EXTI9_5_IRQn);

}

/* USER CODE BEGIN 4 */
/**
  * @brief Initialize interfaces
  */
void Init_interfaces(){
	// Enable system tick interrupt
	HAL_NVIC_SetPriority(SysTick_IRQn, 0x0, 0x1);
	HAL_NVIC_EnableIRQ(SysTick_IRQn);

	// Start GRBL UART reception with interrupts
	start_grbl_uart_reception();

	// Turn on screen back light
	HAL_TIM_PWM_Start(&htim3, TIM_CHANNEL_2);

	// Start up TIM1 (timer for button de-bouncer)
	HAL_TIM_Base_Start_IT(&htim1);

	// Enable buzzer
	enable_buzzer();

	// Initialize touch screen controller
	Init_FT5436();

	// Initialize screen controller
	Init_R61529();
	R61529_SetRotation(ROTATE_DEFAULT);

	//Loading "Check/Test" step
	HAL_GPIO_WritePin(Board_LED_GPIO_Port, Board_LED_Pin, GPIO_PIN_SET);
	HAL_GPIO_WritePin(USER_LED_A_GPIO_Port, USER_LED_A_Pin, GPIO_PIN_SET);
	HAL_GPIO_WritePin(USER_LED_B_GPIO_Port, USER_LED_B_Pin, GPIO_PIN_SET);
	HAL_GPIO_WritePin(USER_LED_C_GPIO_Port, USER_LED_C_Pin, GPIO_PIN_SET);
	HAL_GPIO_WritePin(USER_LED_D_GPIO_Port, USER_LED_D_Pin, GPIO_PIN_SET);
	draw_loading_screen();
	HAL_GPIO_WritePin(Board_LED_GPIO_Port, Board_LED_Pin, GPIO_PIN_RESET);
	HAL_GPIO_WritePin(USER_LED_A_GPIO_Port, USER_LED_A_Pin, GPIO_PIN_RESET);
	HAL_GPIO_WritePin(USER_LED_B_GPIO_Port, USER_LED_B_Pin, GPIO_PIN_RESET);
	HAL_GPIO_WritePin(USER_LED_C_GPIO_Port, USER_LED_C_Pin, GPIO_PIN_RESET);
	HAL_GPIO_WritePin(USER_LED_D_GPIO_Port, USER_LED_D_Pin, GPIO_PIN_RESET);
}

/* USER CODE END 4 */

void Error_Handler(void)
{
  __disable_irq();
  while (1)
  {
  }
}
